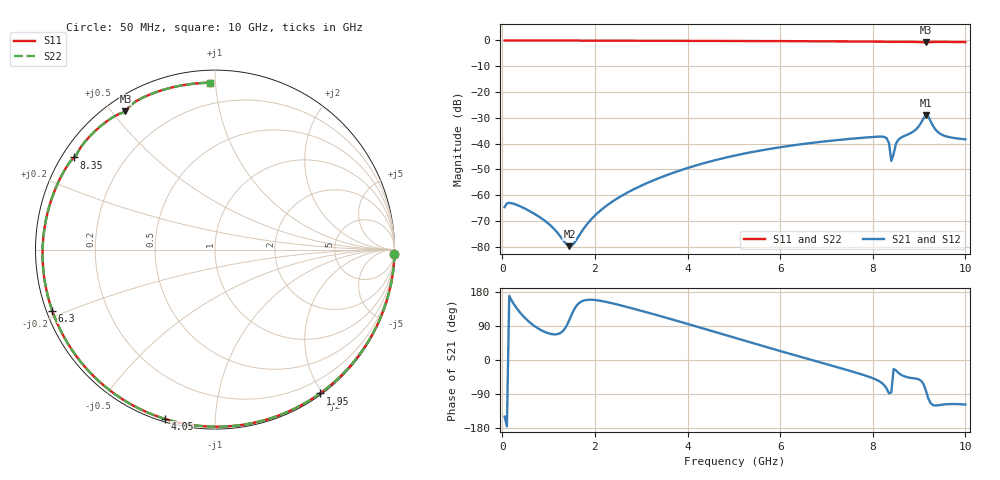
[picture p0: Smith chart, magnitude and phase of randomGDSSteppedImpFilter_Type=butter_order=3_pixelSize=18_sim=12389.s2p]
! freq	dB(S11)	phase(S11)	dB(S12)	phase(S12)
!  dB(S21)	phase(S21)	dB(S22)	phase(S22)
!S-par simulation data
#  GHz  S  DB  R 50
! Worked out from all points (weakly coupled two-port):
!   200 points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, 50 MHz to 10 GHz, reference 50 ohm
!   highest |S21| = -29.01 dB at 9.15 GHz (marker M1); lowest = -79.8 dB at 1.45 GHz (marker M2)
!   lowest |S11| = -0.7 dB at 9.15 GHz (marker M3), VSWR 23.38, Z = 2.77 + j27.1 ohm
!   |S11| at or under -10 dB: nowhere
!   |S22| runs from -0.7 to 0.0 dB; largest |S21 - S12| = 0
!   S11 on the Smith chart (normalised r, x): 50 MHz: 0, -81; 1.95 GHz: 0.02, -1.97; 4.05 GHz: 0.01, -0.75; 6.3 GHz: 0.02, -0.18; 8.35 GHz: 0.03, +0.30; 10 GHz: 0.07, +0.97
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0.05  -0.00 -1.4  -64.67 -149.3  -64.67 -149.3  -0.00 -1.4
0.2  -0.00 -5.7  -63.15 157.5  -63.15 157.5  -0.00 -5.7
0.7  -0.02 -19.8  -67.35 89.2  -67.35 89.2  -0.02 -19.8
1.45  -0.05 -40.4  -79.83 106.2  -79.83 106.2  -0.05 -40.4
1.75  -0.06 -48.5  -73.23 156.5  -73.23 156.5  -0.06 -48.5
1.95  -0.07 -53.8  -68.86 158.9  -68.86 158.9  -0.07 -53.9
2.55  -0.09 -69.5  -60.57 144.4  -60.57 144.4  -0.09 -69.5
3.4  -0.12 -90.8  -53.30 116.3  -53.30 116.3  -0.12 -90.9
4.05  -0.14 -106.6  -49.23 93.5  -49.23 93.5  -0.14 -106.6
5.05  -0.19 -130.1  -44.56 57.5  -44.56 57.5  -0.19 -130.1
6.3  -0.28 -159.4  -40.65 13.2  -40.65 13.2  -0.28 -159.5
6.7  -0.31 -169.1  -39.72 -0.6  -39.72 -0.6  -0.31 -169.1
8.15  -0.46 152.7  -37.30 -56.8  -37.30 -56.8  -0.46 152.7
8.3  -0.51 148.3  -37.95 -75.4  -37.95 -75.4  -0.51 148.2
8.35  -0.55 146.8  -39.83 -88.3  -39.83 -88.3  -0.55 146.7
8.4  -0.58 145.7  -46.76 -85.5  -46.76 -85.5  -0.58 145.6
8.5  -0.54 143.0  -40.07 -27.2  -40.07 -27.2  -0.54 142.9
8.55  -0.53 141.4  -38.58 -33.6  -38.58 -33.6  -0.53 141.3
8.9  -0.58 130.2  -35.02 -48.6  -35.02 -48.6  -0.58 130.1
9.15  -0.74 122.9  -29.01 -81.9  -29.01 -81.9  -0.74 122.8
9.45  -0.56 112.4  -36.15 -118.8  -36.15 -118.8  -0.56 112.3
10  -0.63 91.8  -38.37 -117.6  -38.37 -117.6  -0.63 91.6
